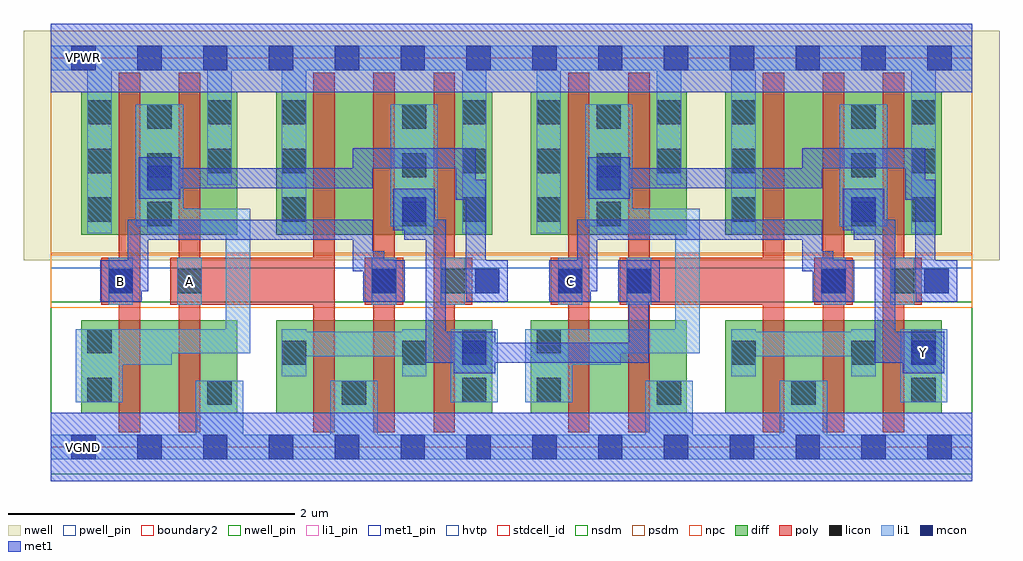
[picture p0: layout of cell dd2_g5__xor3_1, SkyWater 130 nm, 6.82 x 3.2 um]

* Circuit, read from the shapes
.subckt dd2_g5__xor3_1 A B C VGND VNB VPB VPWR Y
XM1 n1 B n2 VNB sky130_fd_pr__nfet_01v8 w=0.65 l=0.15
XM2 VGND A n1 VNB sky130_fd_pr__nfet_01v8 w=0.65 l=0.15
XM3 VGND A n3 VNB sky130_fd_pr__nfet_01v8 w=0.65 l=0.15
XM4 n3 B VGND VNB sky130_fd_pr__nfet_01v8 w=0.65 l=0.15
XM5 n4 n2 n3 VNB sky130_fd_pr__nfet_01v8 w=0.65 l=0.15
XM6 n5 C n6 VNB sky130_fd_pr__nfet_01v8 w=0.65 l=0.15
XM7 VGND n4 n5 VNB sky130_fd_pr__nfet_01v8 w=0.65 l=0.15
XM8 VGND n4 n7 VNB sky130_fd_pr__nfet_01v8 w=0.65 l=0.15
XM9 n7 C VGND VNB sky130_fd_pr__nfet_01v8 w=0.65 l=0.15
XM10 Y n6 n7 VNB sky130_fd_pr__nfet_01v8 w=0.65 l=0.15
XM11 n2 B VPWR VPB sky130_fd_pr__pfet_01v8_hvt w=1 l=0.15
XM12 VPWR A n2 VPB sky130_fd_pr__pfet_01v8_hvt w=1 l=0.15
XM13 n8 A VPWR VPB sky130_fd_pr__pfet_01v8_hvt w=1 l=0.15
XM14 n4 B n8 VPB sky130_fd_pr__pfet_01v8_hvt w=1 l=0.15
XM15 VPWR n2 n4 VPB sky130_fd_pr__pfet_01v8_hvt w=1 l=0.15
XM16 n6 C VPWR VPB sky130_fd_pr__pfet_01v8_hvt w=1 l=0.15
XM17 VPWR n4 n6 VPB sky130_fd_pr__pfet_01v8_hvt w=1 l=0.15
XM18 n9 n4 VPWR VPB sky130_fd_pr__pfet_01v8_hvt w=1 l=0.15
XM19 Y C n9 VPB sky130_fd_pr__pfet_01v8_hvt w=1 l=0.15
XM20 VPWR n6 Y VPB sky130_fd_pr__pfet_01v8_hvt w=1 l=0.15
.ends

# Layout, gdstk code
import gdstk
lib = gdstk.Library(unit=1e-6, precision=1e-09)
def R(c, l, rs):  # rectangles x0, y0, x1, y1
    for r in rs: c.add(gdstk.rectangle(r[:2], r[2:], *l))
def A(c, l, x, y, w, h, nx, ny, dx, dy):  # array of equal rectangles
    R(c, l, [(x+i*dx, y+j*dy, x+i*dx+w, y+j*dy+h) for i in range(nx) for j in range(ny)])
nwell_pin = (64, 16)
nwell = (64, 20)
diff = (65, 20)
poly = (66, 20)
licon = (66, 44)
li1_pin = (67, 16)
li1 = (67, 20)
mcon = (67, 44)
met1_pin = (68, 16)
met1 = (68, 20)
hvtp = (78, 44)
stdcell_id = (81, 4)
nsdm = (93, 44)
psdm = (94, 20)
npc = (95, 20)
pwell_pin = (122, 16)
boundary2 = (236, 0)

dd2_g5__xor3_1 = lib.new_cell('dd2_g5__xor3_1')
R(dd2_g5__xor3_1, nwell_pin, [(0.145,2.635,0.315,2.805)])
R(dd2_g5__xor3_1, nwell, [(-0.19,1.305,6.63,2.91)])
R(dd2_g5__xor3_1, diff, [(0.215,0.235,0.97,0.885), (0.55,0.235,1.305,0.885), (1.575,0.235,2.33,0.885), (1.91,0.235,2.75,0.885), (2.33,0.235,3.085,0.885), (3.355,0.235,4.11,0.885), (3.69,0.235,4.445,0.885), (4.715,0.235,5.47,0.885), (5.05,0.235,5.89,0.885), (5.47,0.235,6.225,0.885), (0.215,1.485,0.97,2.485), (0.55,1.485,1.305,2.485), (1.575,1.485,2.33,2.485), (1.91,1.485,2.75,2.485), (2.33,1.485,3.085,2.485), (3.355,1.485,4.11,2.485), (3.69,1.485,4.445,2.485), (4.715,1.485,5.47,2.485), (5.05,1.485,5.89,2.485), (5.47,1.485,6.225,2.485)])
A(dd2_g5__xor3_1, poly, 1.835, 0.105, 0.15, 2.51, 3, 1, 0.42, 0)
A(dd2_g5__xor3_1, poly, 4.975, 0.105, 0.15, 2.51, 3, 1, 0.42, 0)
R(dd2_g5__xor3_1, poly, [(0.475,0.105,0.625,2.615), (0.895,0.105,1.045,2.615), (3.615,0.105,3.765,2.615), (4.035,0.105,4.185,2.615), (0.355,0.995,0.625,1.325), (0.835,0.995,1.105,1.325), (0.895,0.995,1.985,1.325), (2.195,0.995,2.465,1.325), (2.675,0.995,2.945,1.325), (3.495,0.995,3.765,1.325), (3.975,0.995,4.245,1.325), (4.035,0.995,5.125,1.325), (5.335,0.995,5.605,1.325), (5.815,0.995,6.085,1.325)])
A(dd2_g5__xor3_1, licon, 0.675, 1.545, 0.17, 0.17, 1, 3, 0, 0.34)
A(dd2_g5__xor3_1, licon, 2.455, 1.545, 0.17, 0.17, 1, 3, 0, 0.34)
A(dd2_g5__xor3_1, licon, 3.815, 1.545, 0.17, 0.17, 1, 3, 0, 0.34)
A(dd2_g5__xor3_1, licon, 5.595, 1.545, 0.17, 0.17, 1, 3, 0, 0.34)
A(dd2_g5__xor3_1, licon, 0.255, 1.575, 0.17, 0.17, 1, 3, 0, 0.34)
A(dd2_g5__xor3_1, licon, 1.615, 1.575, 0.17, 0.17, 1, 3, 0, 0.34)
A(dd2_g5__xor3_1, licon, 2.875, 1.575, 0.17, 0.17, 1, 3, 0, 0.34)
A(dd2_g5__xor3_1, licon, 3.395, 1.575, 0.17, 0.17, 1, 3, 0, 0.34)
A(dd2_g5__xor3_1, licon, 4.755, 1.575, 0.17, 0.17, 1, 3, 0, 0.34)
A(dd2_g5__xor3_1, licon, 6.015, 1.575, 0.17, 0.17, 1, 3, 0, 0.34)
R(dd2_g5__xor3_1, licon, [(1.095,0.295,1.265,0.465), (2.035,0.295,2.205,0.465), (4.235,0.295,4.405,0.465), (5.175,0.295,5.345,0.465), (0.255,0.315,0.425,0.485), (2.875,0.315,3.045,0.485), (3.395,0.315,3.565,0.485), (6.015,0.315,6.185,0.485), (1.615,0.575,1.785,0.745), (2.455,0.575,2.625,0.745), (4.755,0.575,4.925,0.745), (5.595,0.575,5.765,0.745), (0.255,0.655,0.425,0.825), (2.875,0.655,3.045,0.825), (3.395,0.655,3.565,0.825), (6.015,0.655,6.185,0.825), (0.405,1.075,0.575,1.245), (0.885,1.075,1.055,1.245), (2.245,1.075,2.415,1.245), (2.725,1.075,2.895,1.245), (3.545,1.075,3.715,1.245), (4.025,1.075,4.195,1.245), (5.385,1.075,5.555,1.245), (5.865,1.075,6.035,1.245), (1.095,1.915,1.265,2.085), (4.235,1.915,4.405,2.085), (1.095,2.255,1.265,2.425), (4.235,2.255,4.405,2.425)])
R(dd2_g5__xor3_1, li1_pin, [(0.145,-0.085,0.315,0.085), (6.025,0.585,6.175,0.735), (0.415,1.085,0.565,1.235), (0.895,1.085,1.045,1.235), (2.255,1.085,2.405,1.235), (3.555,1.085,3.705,1.235), (5.395,1.085,5.545,1.235), (0.145,2.635,0.315,2.805)])
R(dd2_g5__xor3_1, li1, [(0,-0.085,6.44,0.085), (1.015,0.085,1.345,0.465), (1.955,0.085,2.285,0.465), (4.155,0.085,4.485,0.465), (5.095,0.085,5.425,0.465), (0.175,0.315,0.505,0.575), (2.795,0.315,3.125,0.825), (3.315,0.315,3.645,0.575), (5.935,0.315,6.265,0.825), (1.615,0.495,1.785,0.635), (2.455,0.495,2.625,0.635), (4.755,0.495,4.925,0.635), (5.595,0.495,5.765,0.635), (0.175,0.575,0.845,0.655), (3.315,0.575,3.985,0.655), (1.615,0.635,2.625,0.805), (4.755,0.635,5.765,0.805), (0.175,0.655,1.395,0.825), (3.315,0.655,4.535,0.825), (1.615,0.805,1.785,0.825), (2.455,0.805,2.625,0.825), (4.755,0.805,4.925,0.825), (5.595,0.805,5.765,0.825), (1.225,0.825,1.395,1.495), (4.365,0.825,4.535,1.495), (0.405,0.995,0.575,1.325), (0.885,0.995,1.055,1.325), (2.245,0.995,2.415,1.325), (2.725,0.995,2.895,1.075), (3.545,0.995,3.715,1.325), (4.025,0.995,4.195,1.325), (5.385,0.995,5.555,1.325), (5.865,0.995,6.035,1.075), (2.725,1.075,3.135,1.245), (5.865,1.075,6.275,1.245), (2.725,1.245,2.895,1.325), (5.865,1.245,6.035,1.325), (0.255,1.495,0.425,2.635), (0.675,1.495,1.395,1.545), (1.615,1.495,1.785,2.635), (2.455,1.495,2.625,1.545), (2.875,1.495,3.045,2.635), (3.395,1.495,3.565,2.635), (3.815,1.495,4.535,1.545), (4.755,1.495,4.925,2.635), (5.595,1.495,5.765,1.545), (6.015,1.495,6.185,2.635), (0.595,1.545,1.395,1.665), (2.375,1.545,2.705,2.395), (3.735,1.545,4.535,1.665), (5.515,1.545,5.845,2.395), (0.595,1.665,0.925,2.395), (3.735,1.665,4.065,2.395), (1.095,1.835,1.265,2.635), (4.235,1.835,4.405,2.635), (0,2.635,6.44,2.805)])
A(dd2_g5__xor3_1, mcon, 0.145, -0.085, 0.17, 0.17, 14, 2, 0.46, 2.72)
R(dd2_g5__xor3_1, mcon, [(2.875,0.575,3.045,0.745), (6.015,0.575,6.185,0.745), (0.405,1.075,0.575,1.245), (2.245,1.075,2.415,1.245), (2.965,1.075,3.135,1.245), (3.545,1.075,3.715,1.245), (4.025,1.075,4.195,1.245), (5.385,1.075,5.555,1.245), (6.105,1.075,6.275,1.245), (2.455,1.575,2.625,1.745), (5.595,1.575,5.765,1.745), (0.675,1.795,0.845,1.965), (3.815,1.795,3.985,1.965)])
R(dd2_g5__xor3_1, met1_pin, [(0.145,-0.085,0.315,0.085), (0.145,2.635,0.315,2.805)])
R(dd2_g5__xor3_1, met1, [(0,-0.24,6.44,0.24), (2.815,0.515,3.105,0.59), (5.955,0.515,6.245,0.59), (2.62,0.59,4.18,0.73), (5.76,0.59,6.245,0.805), (2.62,0.73,3.105,0.805), (4.04,0.73,4.18,1.015), (2.62,0.805,2.76,1.45), (5.76,0.805,5.9,1.45), (0.345,1.015,0.635,1.09), (2.185,1.015,2.475,1.23), (2.905,1.015,3.195,1.09), (3.485,1.015,3.775,1.09), (3.965,1.015,4.255,1.305), (5.325,1.015,5.615,1.23), (6.045,1.015,6.335,1.09), (0.345,1.09,0.68,1.305), (2.9,1.09,3.195,1.305), (3.485,1.09,3.82,1.305), (6.04,1.09,6.335,1.305), (2.11,1.23,2.475,1.305), (5.25,1.23,5.615,1.305), (0.54,1.305,0.68,1.45), (2.11,1.305,2.4,1.31), (2.9,1.305,3.04,1.73), (3.68,1.305,3.82,1.45), (5.25,1.305,5.54,1.31), (6.04,1.305,6.18,1.73), (2.11,1.31,2.33,1.37), (5.25,1.31,5.47,1.37), (2.11,1.37,2.25,1.45), (5.25,1.37,5.39,1.45), (0.54,1.45,2.25,1.59), (2.47,1.45,2.76,1.515), (3.68,1.45,5.39,1.59), (5.61,1.45,5.9,1.515), (2.395,1.515,2.76,1.59), (5.535,1.515,5.9,1.59), (2.395,1.59,2.685,1.805), (5.535,1.59,5.825,1.805), (2.83,1.73,3.04,1.87), (5.97,1.73,6.18,1.87), (0.615,1.735,0.905,1.81), (3.755,1.735,4.045,1.81), (0.615,1.81,2.25,1.95), (3.755,1.81,5.39,1.95), (2.83,1.87,2.97,1.95), (5.97,1.87,6.11,1.95), (0.615,1.95,0.905,2.025), (2.11,1.95,2.97,2.09), (3.755,1.95,4.045,2.025), (5.25,1.95,6.11,2.09), (0,2.48,6.44,2.96)])
R(dd2_g5__xor3_1, hvtp, [(0,1.25,6.44,2.72)])
R(dd2_g5__xor3_1, stdcell_id, [(0,0,6.44,2.72)])
R(dd2_g5__xor3_1, nsdm, [(0,-0.19,6.44,1.015)])
R(dd2_g5__xor3_1, psdm, [(0,1.355,6.44,2.91)])
R(dd2_g5__xor3_1, npc, [(0,0.975,6.44,1.345)])
R(dd2_g5__xor3_1, pwell_pin, [(0.145,-0.085,0.315,0.085)])
R(dd2_g5__xor3_1, boundary2, [(0,0,6.44,2.72)])
dd2_g5__xor3_1.add(gdstk.Label('VPWR', (0.23,2.72), layer=68, texttype=5))
dd2_g5__xor3_1.add(gdstk.Label('VGND', (0.23,0), layer=68, texttype=5))
dd2_g5__xor3_1.add(gdstk.Label('VPWR', (0.23,2.72), layer=67, texttype=5))
dd2_g5__xor3_1.add(gdstk.Label('VGND', (0.23,0), layer=67, texttype=5))
dd2_g5__xor3_1.add(gdstk.Label('A', (0.97,1.16), layer=67, texttype=5))
dd2_g5__xor3_1.add(gdstk.Label('B', (0.49,1.16), layer=67, texttype=5))
dd2_g5__xor3_1.add(gdstk.Label('C', (3.63,1.16), layer=67, texttype=5))
dd2_g5__xor3_1.add(gdstk.Label('Y', (6.1,0.66), layer=67, texttype=5))
dd2_g5__xor3_1.add(gdstk.Label('VPB', (0.23,2.72), layer=64, texttype=5))
dd2_g5__xor3_1.add(gdstk.Label('VNB', (0.23,0), layer=64, texttype=59))

lib.write_gds('dd2_g5__xor3_1.gds')
